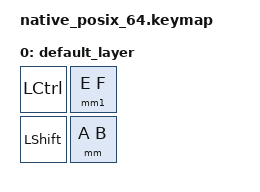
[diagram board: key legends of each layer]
#include <dt-bindings/zmk/keys.h>
#include <behaviors.dtsi>
#include <dt-bindings/zmk/kscan_mock.h>

/ {
    behaviors {
        mm1: mod_morph_param1 {
            compatible = "zmk,behavior-mod-morph-param";
            #binding-cells = <2>;
            bindings = <&mm PLACEHOLDER PLACEHOLDER>, <&mm PLACEHOLDER PLACEHOLDER>;
            mods = <(MOD_LCTL|MOD_RCTL)>;
            binding-params = <BINDING_PARAM(1,2) BINDING_PARAM(2,1)>;
        };
    };

    keymap {
        compatible = "zmk,keymap";
        default_layer {
            bindings = <
                &kp LEFT_CONTROL &mm1 E F
                &kp LEFT_SHIFT   &mm A B
            >;
        };
    };
};


&kscan {
    events = <
        ZMK_MOCK_PRESS(0,1,10)
        ZMK_MOCK_RELEASE(0,1,10)
        ZMK_MOCK_PRESS(0,0,10)
        ZMK_MOCK_PRESS(0,1,10)
        ZMK_MOCK_RELEASE(0,1,10)
        ZMK_MOCK_RELEASE(0,0,10)
        ZMK_MOCK_PRESS(1,0,10)
        ZMK_MOCK_PRESS(0,1,10)
        ZMK_MOCK_RELEASE(0,1,10)
        ZMK_MOCK_PRESS(0,0,10)
        ZMK_MOCK_PRESS(0,1,10)
        ZMK_MOCK_RELEASE(0,1,10)
        ZMK_MOCK_RELEASE(0,0,10)
        ZMK_MOCK_RELEASE(1,0,10)
        ZMK_MOCK_PRESS(1,0,10)
        ZMK_MOCK_PRESS(0,1,10)
        ZMK_MOCK_RELEASE(0,1,10)
        ZMK_MOCK_RELEASE(1,0,10)
    >;
};
